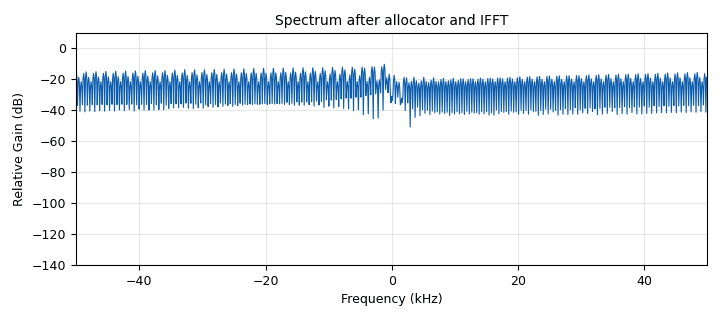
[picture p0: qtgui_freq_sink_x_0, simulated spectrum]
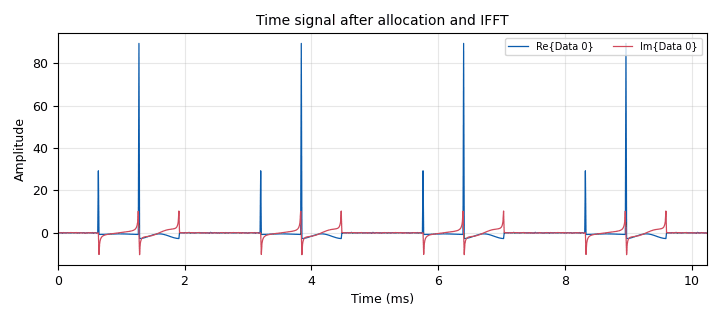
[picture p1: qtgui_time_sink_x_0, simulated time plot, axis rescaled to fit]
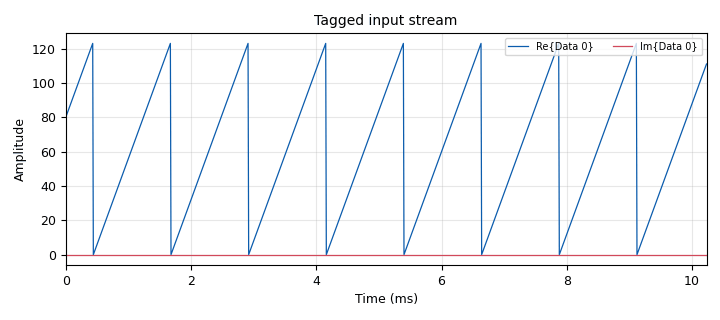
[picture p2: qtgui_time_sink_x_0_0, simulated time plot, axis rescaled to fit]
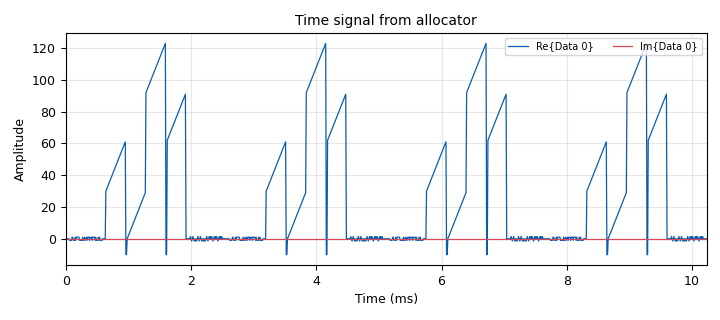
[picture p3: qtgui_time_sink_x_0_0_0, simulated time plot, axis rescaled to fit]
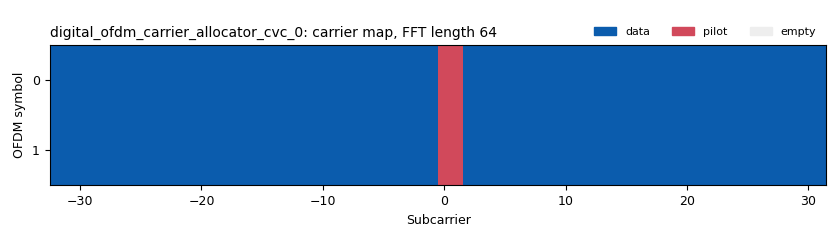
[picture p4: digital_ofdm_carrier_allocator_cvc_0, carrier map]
<?xml version='1.0' encoding='utf-8'?>
<?grc format='1' created='3.7.10'?>
<flow_graph>
<block>
<key>options</key>
<param><key>id</key><value>top_block</value></param>
<param><key>generate_options</key><value>qt_gui</value></param>
</block>
<block>
<key>variable</key>
<param><key>id</key><value>fft_len</value></param>
<param><key>value</key><value>64</value></param>
</block>
<block>
<key>variable</key>
<param><key>id</key><value>hdr_format</value></param>
<param><key>value</key><value>digital.header_format_ofdm(occupied_carriers, 1, length_tag_key,)</value></param>
</block>
<block>
<key>variable</key>
<param><key>id</key><value>header_mod</value></param>
<param><key>value</key><value>digital.constellation_bpsk()</value></param>
</block>
<block>
<key>variable</key>
<param><key>id</key><value>length_tag_key</value></param>
<param><key>value</key><value>"packet_len"</value></param>
</block>
<block>
<key>variable</key>
<param><key>id</key><value>occupied_carriers</value></param>
<param><key>value</key><value>(range(2,64),)</value></param>
</block>
<block>
<key>variable</key>
<param><key>id</key><value>packet_len</value></param>
<param><key>value</key><value>124</value></param>
</block>
<block>
<key>variable</key>
<param><key>id</key><value>payload_mod</value></param>
<param><key>value</key><value>digital.constellation_qpsk()</value></param>
</block>
<block>
<key>variable</key>
<param><key>id</key><value>pilot_carriers</value></param>
<param><key>value</key><value>((0,1,),)</value></param>
</block>
<block>
<key>variable</key>
<param><key>id</key><value>pilot_symbols</value></param>
<param><key>value</key><value>((-10,-10,),)</value></param>
</block>
<block>
<key>variable</key>
<param><key>id</key><value>rolloff</value></param>
<param><key>value</key><value>0</value></param>
</block>
<block>
<key>variable</key>
<param><key>id</key><value>samp_rate</value></param>
<param><key>value</key><value>100e3</value></param>
</block>
<block>
<key>variable</key>
<param><key>id</key><value>sync_word1</value></param>
<param><key>value</key><value>[0., 0., 0., 0., 0., 0., 0., 1.41421356, 0., -1.41421356, 0., 1.41421356, 0., -1.41421356, 0., -1.41421356, 0., -1.41421356, 0., 1.41421356, 0., -1.41421356, 0., 1.41421356, 0., -1.41421356, 0., -1.41421356, 0., -1.41421356, 0., -1.41421356, 0., 1.41421356, 0., -1.41421356, 0., 1.41421356, 0., 1.41421356, 0., 1.41421356, 0., -1.41421356, 0., 1.41421356, 0., 1.41421356, 0., 1.41421356, 0., -1.41421356, 0., 1.41421356, 0., 1.41421356, 0., 1.41421356, 0., 0., 0., 0., 0., 0.]</value></param>
</block>
<block>
<key>variable</key>
<param><key>id</key><value>sync_word2</value></param>
<param><key>value</key><value>[0, 0, 0, 0, 0, 0, -1, -1, -1, -1, 1, 1, -1, -1, -1, 1, -1, 1, 1, 1, 1, 1, -1, -1, -1, -1, -1, 1, -1, -1, 1, -1, 0, 1, -1, 1, 1, 1, -1, 1, 1, 1, -1, 1, 1, 1, 1, -1, 1, -1, -1, -1, 1, -1, 1, -1, -1, -1, -1, 0, 0, 0, 0, 0] </value></param>
</block>
<block>
<key>variable</key>
<param><key>id</key><value>sync_word3</value></param>
<param><key>value</key><value>[0., 0., 0., 0., 0., 0., 0., 14.1421356, 0., -14.1421356, 0., 14.1421356, 0., -14.1421356, 0., -14.1421356, 0., -14.1421356, 0., 14.1421356, 0., -14.1421356, 0., 14.1421356, 0., -14.1421356, 0., -14.1421356, 0., -14.1421356, 0., -14.1421356, 0., 14.1421356, 0., -14.1421356, 0., 14.1421356, 0., 14.1421356, 0., 14.1421356, 0., -14.1421356, 0., 14.1421356, 0., 14.1421356, 0., 14.1421356, 0., -14.1421356, 0., 14.1421356, 0., 14.1421356, 0., 14.1421356, 0., 0., 0., 0., 0., 0.]</value></param>
</block>
<block>
<key>variable</key>
<param><key>id</key><value>sync_word4</value></param>
<param><key>value</key><value>[0, 0, 0, 0, 0, 0, -10, -10, -10, -10, 10, 10, -10, -10, -10, 10, -10, 10, 10, 10, 10, 10, -10, -10, -10, -10, -10, 10, -10, -10, 10, -10, 0, 10, -10, 10, 10, 10, -10, 10, 10, 10, -10, 10, 10, 10, 10, -10, 10, -10, -10, -10, 10, -10, 10, -10, -10, -10, -10, 0, 0, 0, 0, 0] </value></param>
</block>
<block>
<key>analog_const_source_x</key>
<param><key>id</key><value>analog_const_source_x_0</value></param>
<param><key>const</key><value>0.5</value></param>
<param><key>_enabled</key><value>0</value></param>
<param><key>type</key><value>complex</value></param>
</block>
<block>
<key>blocks_file_sink</key>
<param><key>id</key><value>blocks_file_sink_0</value></param>
<param><key>file</key><value>/home/ubuntu/Desktop/allocator_out.txt</value></param>
<param><key>type</key><value>complex</value></param>
</block>
<block>
<key>blocks_file_sink</key>
<param><key>id</key><value>blocks_file_sink_0_0</value></param>
<param><key>file</key><value>/home/ubuntu/Desktop/allocator_in.txt</value></param>
<param><key>type</key><value>complex</value></param>
</block>
<block>
<key>blocks_multiply_const_vxx</key>
<param><key>id</key><value>blocks_multiply_const_vxx_0</value></param>
<param><key>const</key><value>1.0/fft_len</value></param>
<param><key>type</key><value>complex</value></param>
</block>
<block>
<key>blocks_stream_to_tagged_stream</key>
<param><key>id</key><value>blocks_stream_to_tagged_stream_0</value></param>
<param><key>len_tag_key</key><value>"length_tag_key"</value></param>
<param><key>packet_len</key><value>packet_len</value></param>
<param><key>type</key><value>complex</value></param>
</block>
<block>
<key>blocks_throttle</key>
<param><key>id</key><value>blocks_throttle_0</value></param>
<param><key>samples_per_second</key><value>samp_rate</value></param>
<param><key>type</key><value>complex</value></param>
</block>
<block>
<key>blocks_vector_source_x</key>
<param><key>id</key><value>blocks_vector_source_x_0</value></param>
<param><key>type</key><value>complex</value></param>
<param><key>repeat</key><value>True</value></param>
<param><key>vector</key><value>range(0,124)</value></param>
</block>
<block>
<key>blocks_vector_to_stream</key>
<param><key>id</key><value>blocks_vector_to_stream_0</value></param>
<param><key>type</key><value>complex</value></param>
<param><key>num_items</key><value>64</value></param>
</block>
<block>
<key>blocks_vector_to_stream</key>
<param><key>id</key><value>blocks_vector_to_stream_0_0</value></param>
<param><key>type</key><value>complex</value></param>
<param><key>num_items</key><value>64</value></param>
</block>
<block>
<key>blocks_vector_to_stream</key>
<param><key>id</key><value>blocks_vector_to_stream_1</value></param>
<param><key>type</key><value>complex</value></param>
<param><key>num_items</key><value>64</value></param>
</block>
<block>
<key>digital_ofdm_carrier_allocator_cvc</key>
<param><key>id</key><value>digital_ofdm_carrier_allocator_cvc_0</value></param>
<param><key>fft_len</key><value>fft_len</value></param>
<param><key>len_tag_key</key><value>"length_tag_key"</value></param>
<param><key>occupied_carriers</key><value>occupied_carriers</value></param>
<param><key>pilot_carriers</key><value>pilot_carriers</value></param>
<param><key>pilot_symbols</key><value>pilot_symbols</value></param>
<param><key>sync_words</key><value>(sync_word1, sync_word2)</value></param>
</block>
<block>
<key>fft_vxx</key>
<param><key>id</key><value>fft_vxx_0</value></param>
<param><key>fft_size</key><value>fft_len</value></param>
<param><key>forward</key><value>False</value></param>
<param><key>type</key><value>complex</value></param>
<param><key>shift</key><value>True</value></param>
<param><key>window</key><value>()</value></param>
</block>
<block>
<key>qtgui_freq_sink_x</key>
<param><key>id</key><value>qtgui_freq_sink_x_0</value></param>
<param><key>bw</key><value>samp_rate</value></param>
<param><key>fc</key><value>0</value></param>
<param><key>fftsize</key><value>1024</value></param>
<param><key>name</key><value>"Spectrum after allocator and IFFT"</value></param>
<param><key>showports</key><value>True</value></param>
<param><key>type</key><value>complex</value></param>
<param><key>wintype</key><value>firdes.WIN_BLACKMAN_hARRIS</value></param>
</block>
<block>
<key>qtgui_time_sink_x</key>
<param><key>id</key><value>qtgui_time_sink_x_0</value></param>
<param><key>color1</key><value>"blue"</value></param>
<param><key>label1</key><value></value></param>
<param><key>color2</key><value>"red"</value></param>
<param><key>label2</key><value></value></param>
<param><key>name</key><value>"Time signal after allocation and IFFT"</value></param>
<param><key>size</key><value>1024</value></param>
<param><key>srate</key><value>samp_rate</value></param>
<param><key>type</key><value>complex</value></param>
<param><key>ymax</key><value>32</value></param>
<param><key>ymin</key><value>-32</value></param>
</block>
<block>
<key>qtgui_time_sink_x</key>
<param><key>id</key><value>qtgui_time_sink_x_0_0</value></param>
<param><key>color1</key><value>"blue"</value></param>
<param><key>label1</key><value></value></param>
<param><key>color2</key><value>"red"</value></param>
<param><key>label2</key><value></value></param>
<param><key>name</key><value>"Tagged input stream"</value></param>
<param><key>size</key><value>1024</value></param>
<param><key>srate</key><value>samp_rate</value></param>
<param><key>type</key><value>complex</value></param>
</block>
<block>
<key>qtgui_time_sink_x</key>
<param><key>id</key><value>qtgui_time_sink_x_0_0_0</value></param>
<param><key>ctrlpanel</key><value>True</value></param>
<param><key>color1</key><value>"blue"</value></param>
<param><key>label1</key><value></value></param>
<param><key>color2</key><value>"red"</value></param>
<param><key>label2</key><value></value></param>
<param><key>name</key><value>"Time signal from allocator"</value></param>
<param><key>size</key><value>1024</value></param>
<param><key>srate</key><value>samp_rate</value></param>
<param><key>type</key><value>complex</value></param>
<param><key>ymax</key><value>15</value></param>
<param><key>ymin</key><value>-15</value></param>
</block>
<connection><source_block_id>analog_const_source_x_0</source_block_id><sink_block_id>blocks_throttle_0</sink_block_id><source_key>0</source_key><sink_key>0</sink_key></connection>
<connection><source_block_id>blocks_multiply_const_vxx_0</source_block_id><sink_block_id>qtgui_freq_sink_x_0</sink_block_id><source_key>0</source_key><sink_key>0</sink_key></connection>
<connection><source_block_id>blocks_multiply_const_vxx_0</source_block_id><sink_block_id>qtgui_time_sink_x_0</sink_block_id><source_key>0</source_key><sink_key>0</sink_key></connection>
<connection><source_block_id>blocks_stream_to_tagged_stream_0</source_block_id><sink_block_id>blocks_file_sink_0_0</sink_block_id><source_key>0</source_key><sink_key>0</sink_key></connection>
<connection><source_block_id>blocks_stream_to_tagged_stream_0</source_block_id><sink_block_id>digital_ofdm_carrier_allocator_cvc_0</sink_block_id><source_key>0</source_key><sink_key>0</sink_key></connection>
<connection><source_block_id>blocks_stream_to_tagged_stream_0</source_block_id><sink_block_id>qtgui_time_sink_x_0_0</sink_block_id><source_key>0</source_key><sink_key>0</sink_key></connection>
<connection><source_block_id>blocks_throttle_0</source_block_id><sink_block_id>blocks_stream_to_tagged_stream_0</sink_block_id><source_key>0</source_key><sink_key>0</sink_key></connection>
<connection><source_block_id>blocks_vector_source_x_0</source_block_id><sink_block_id>blocks_throttle_0</sink_block_id><source_key>0</source_key><sink_key>0</sink_key></connection>
<connection><source_block_id>blocks_vector_to_stream_0</source_block_id><sink_block_id>blocks_multiply_const_vxx_0</sink_block_id><source_key>0</source_key><sink_key>0</sink_key></connection>
<connection><source_block_id>blocks_vector_to_stream_0_0</source_block_id><sink_block_id>qtgui_time_sink_x_0_0_0</sink_block_id><source_key>0</source_key><sink_key>0</sink_key></connection>
<connection><source_block_id>blocks_vector_to_stream_1</source_block_id><sink_block_id>blocks_file_sink_0</sink_block_id><source_key>0</source_key><sink_key>0</sink_key></connection>
<connection><source_block_id>digital_ofdm_carrier_allocator_cvc_0</source_block_id><sink_block_id>blocks_vector_to_stream_0_0</sink_block_id><source_key>0</source_key><sink_key>0</sink_key></connection>
<connection><source_block_id>digital_ofdm_carrier_allocator_cvc_0</source_block_id><sink_block_id>blocks_vector_to_stream_1</sink_block_id><source_key>0</source_key><sink_key>0</sink_key></connection>
<connection><source_block_id>digital_ofdm_carrier_allocator_cvc_0</source_block_id><sink_block_id>fft_vxx_0</sink_block_id><source_key>0</source_key><sink_key>0</sink_key></connection>
<connection><source_block_id>fft_vxx_0</source_block_id><sink_block_id>blocks_vector_to_stream_0</sink_block_id><source_key>0</source_key><sink_key>0</sink_key></connection>
</flow_graph>
